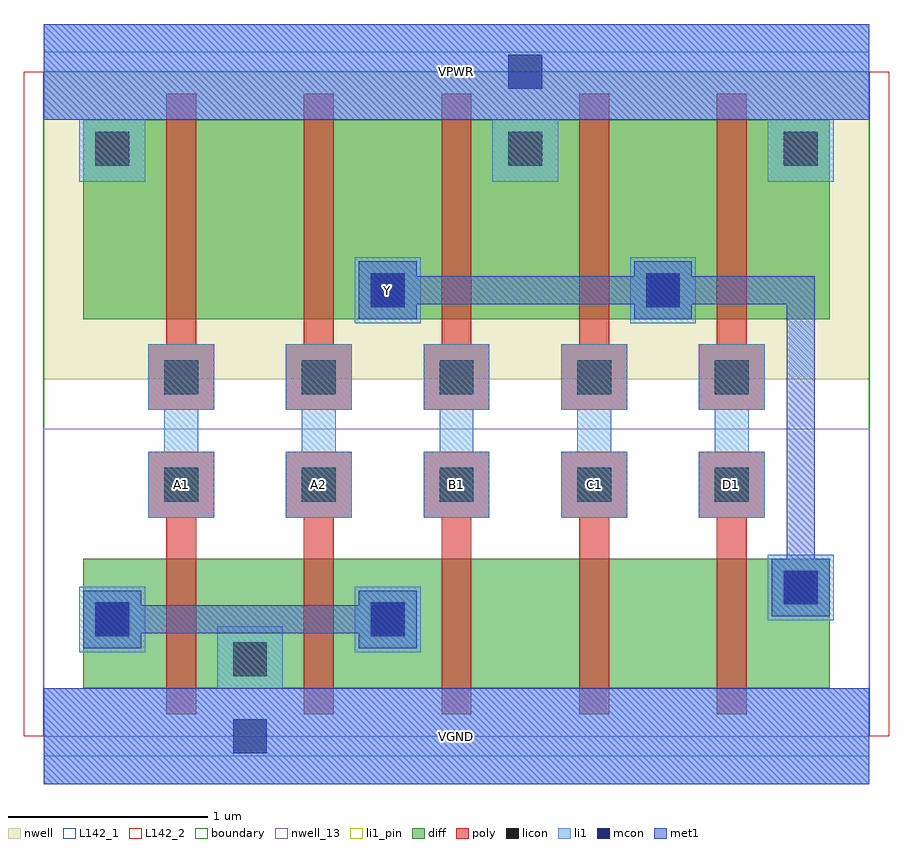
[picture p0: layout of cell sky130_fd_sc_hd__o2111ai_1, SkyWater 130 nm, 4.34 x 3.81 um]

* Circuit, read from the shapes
.subckt sky130_fd_sc_hd__o2111ai_1 A1 A2 B1 C1 D1 VGND VPWR Y
XM1 VGND A1 n1 VSUBS sky130_fd_pr__nfet_01v8 w=0.65 l=0.15
XM2 n1 A2 VGND VSUBS sky130_fd_pr__nfet_01v8 w=0.65 l=0.15
XM3 n2 B1 n1 VSUBS sky130_fd_pr__nfet_01v8 w=0.65 l=0.15
XM4 n3 C1 n2 VSUBS sky130_fd_pr__nfet_01v8 w=0.65 l=0.15
XM5 Y D1 n3 VSUBS sky130_fd_pr__nfet_01v8 w=0.65 l=0.15
XM6 n4 A1 VPWR n5 sky130_fd_pr__pfet_01v8 w=1 l=0.15
XM7 Y A2 n4 n5 sky130_fd_pr__pfet_01v8 w=1 l=0.15
XM8 VPWR B1 Y n5 sky130_fd_pr__pfet_01v8 w=1 l=0.15
XM9 Y C1 VPWR n5 sky130_fd_pr__pfet_01v8 w=1 l=0.15
XM10 VPWR D1 Y n5 sky130_fd_pr__pfet_01v8 w=1 l=0.15
.ends

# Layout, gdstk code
import gdstk
lib = gdstk.Library(unit=1e-6, precision=1e-09)
def R(c, l, rs):  # rectangles x0, y0, x1, y1
    for r in rs: c.add(gdstk.rectangle(r[:2], r[2:], *l))
def A(c, l, x, y, w, h, nx, ny, dx, dy):  # array of equal rectangles
    R(c, l, [(x+i*dx, y+j*dy, x+i*dx+w, y+j*dy+h) for i in range(nx) for j in range(ny)])
def P(c, l, *ps):  # polygons
    for p in ps: c.add(gdstk.Polygon(p, *l))
nwell_13 = (64, 13)
nwell = (64, 20)
diff = (65, 20)
poly = (66, 20)
licon = (66, 44)
li1_pin = (67, 16)
li1 = (67, 20)
mcon = (67, 44)
met1 = (68, 20)
L142_1 = (142, 1)
L142_2 = (142, 2)
boundary = (235, 4)

sky130_fd_sc_hd__o2111ai = lib.new_cell('sky130_fd_sc_hd__o2111ai_1')
R(sky130_fd_sc_hd__o2111ai, nwell_13, [(0,0,4.14,1.54)])
R(sky130_fd_sc_hd__o2111ai, nwell, [(0,1.79,4.14,3.33)])
A(sky130_fd_sc_hd__o2111ai, diff, 0.615, 0.24, 0.69, 0.65, 4, 1, 0.69, 0)
A(sky130_fd_sc_hd__o2111ai, diff, 0.615, 2.09, 0.69, 1, 4, 1, 0.69, 0)
R(sky130_fd_sc_hd__o2111ai, diff, [(0.2,0.24,3.94,0.89), (0.2,0.24,0.615,0.89), (3.375,0.24,3.94,0.89), (0.2,2.09,3.94,3.09), (0.2,2.09,0.615,3.09), (3.375,2.09,3.94,3.09)])
P(sky130_fd_sc_hd__o2111ai, poly, [(1.305,0.11),(1.305,1.095),(1.215,1.095),(1.215,1.425),(1.545,1.425),(1.545,1.095),(1.455,1.095),(1.455,0.11)],
  [(1.215,1.635),(1.215,1.965),(1.305,1.965),(1.305,3.22),(1.455,3.22),(1.455,1.965),(1.545,1.965),(1.545,1.635)],
  [(0.615,0.11),(0.615,1.095),(0.525,1.095),(0.525,1.425),(0.855,1.425),(0.855,1.095),(0.765,1.095),(0.765,0.11)],
  [(0.525,1.635),(0.525,1.965),(0.615,1.965),(0.615,3.22),(0.765,3.22),(0.765,1.965),(0.855,1.965),(0.855,1.635)],
  [(2.685,0.11),(2.685,1.095),(2.595,1.095),(2.595,1.425),(2.925,1.425),(2.925,1.095),(2.835,1.095),(2.835,0.11)],
  [(2.595,1.635),(2.595,1.965),(2.685,1.965),(2.685,3.22),(2.835,3.22),(2.835,1.965),(2.925,1.965),(2.925,1.635)],
  [(1.995,0.11),(1.995,1.095),(1.905,1.095),(1.905,1.425),(2.235,1.425),(2.235,1.095),(2.145,1.095),(2.145,0.11)],
  [(1.905,1.635),(1.905,1.965),(1.995,1.965),(1.995,3.22),(2.145,3.22),(2.145,1.965),(2.235,1.965),(2.235,1.635)],
  [(3.375,0.11),(3.375,1.095),(3.285,1.095),(3.285,1.425),(3.615,1.425),(3.615,1.095),(3.525,1.095),(3.525,0.11)],
  [(3.285,1.635),(3.285,1.965),(3.375,1.965),(3.375,3.22),(3.525,3.22),(3.525,1.965),(3.615,1.965),(3.615,1.635)])
A(sky130_fd_sc_hd__o2111ai, licon, 0.605, 1.175, 0.17, 0.17, 5, 2, 0.69, 0.54)
R(sky130_fd_sc_hd__o2111ai, licon, [(0.95,0.3,1.12,0.47), (0.26,0.5,0.43,0.67), (1.64,0.5,1.81,0.67), (3.71,0.66,3.88,0.83), (1.64,2.15,1.81,2.32), (3.02,2.15,3.19,2.32), (0.26,2.86,0.43,3.03), (2.33,2.86,2.5,3.03), (3.71,2.86,3.88,3.03)])
R(sky130_fd_sc_hd__o2111ai, li1_pin, [(0,-0.24,4.14,0.24), (1.56,2.07,1.89,2.4), (0,3.09,4.14,3.57)])
P(sky130_fd_sc_hd__o2111ai, li1_pin, [(1.215,1.095),(1.215,1.425),(1.295,1.425),(1.295,1.635),(1.215,1.635),(1.215,1.965),(1.545,1.965),(1.545,1.635),(1.465,1.635),(1.465,1.425),(1.545,1.425),(1.545,1.095)],
  [(2.595,1.095),(2.595,1.425),(2.675,1.425),(2.675,1.635),(2.595,1.635),(2.595,1.965),(2.925,1.965),(2.925,1.635),(2.845,1.635),(2.845,1.425),(2.925,1.425),(2.925,1.095)],
  [(0.525,1.095),(0.525,1.425),(0.605,1.425),(0.605,1.635),(0.525,1.635),(0.525,1.965),(0.855,1.965),(0.855,1.635),(0.775,1.635),(0.775,1.425),(0.855,1.425),(0.855,1.095)],
  [(1.905,1.095),(1.905,1.425),(1.985,1.425),(1.985,1.635),(1.905,1.635),(1.905,1.965),(2.235,1.965),(2.235,1.635),(2.155,1.635),(2.155,1.425),(2.235,1.425),(2.235,1.095)],
  [(3.285,1.095),(3.285,1.425),(3.365,1.425),(3.365,1.635),(3.285,1.635),(3.285,1.965),(3.615,1.965),(3.615,1.635),(3.535,1.635),(3.535,1.425),(3.615,1.425),(3.615,1.095)])
R(sky130_fd_sc_hd__o2111ai, li1, [(0.18,0.42,0.51,0.75), (1.56,0.42,1.89,0.75), (3.63,0.58,3.96,0.91), (1.56,2.07,1.89,2.4), (2.94,2.07,3.27,2.4)])
P(sky130_fd_sc_hd__o2111ai, li1, [(1.215,1.095),(1.215,1.425),(1.295,1.425),(1.295,1.635),(1.215,1.635),(1.215,1.965),(1.545,1.965),(1.545,1.635),(1.465,1.635),(1.465,1.425),(1.545,1.425),(1.545,1.095)],
  [(0.18,2.78),(0.18,3.09),(0,3.09),(0,3.57),(4.14,3.57),(4.14,3.09),(3.96,3.09),(3.96,2.78),(3.63,2.78),(3.63,3.09),(2.58,3.09),(2.58,2.78),(2.25,2.78),(2.25,3.09),(0.51,3.09),(0.51,2.78)],
  [(0.525,1.095),(0.525,1.425),(0.605,1.425),(0.605,1.635),(0.525,1.635),(0.525,1.965),(0.855,1.965),(0.855,1.635),(0.775,1.635),(0.775,1.425),(0.855,1.425),(0.855,1.095)],
  [(0,-0.24),(0,0.24),(0.87,0.24),(0.87,0.55),(1.2,0.55),(1.2,0.24),(4.14,0.24),(4.14,-0.24)],
  [(2.595,1.095),(2.595,1.425),(2.675,1.425),(2.675,1.635),(2.595,1.635),(2.595,1.965),(2.925,1.965),(2.925,1.635),(2.845,1.635),(2.845,1.425),(2.925,1.425),(2.925,1.095)],
  [(1.905,1.095),(1.905,1.425),(1.985,1.425),(1.985,1.635),(1.905,1.635),(1.905,1.965),(2.235,1.965),(2.235,1.635),(2.155,1.635),(2.155,1.425),(2.235,1.425),(2.235,1.095)],
  [(3.285,1.095),(3.285,1.425),(3.365,1.425),(3.365,1.635),(3.285,1.635),(3.285,1.965),(3.615,1.965),(3.615,1.635),(3.535,1.635),(3.535,1.425),(3.615,1.425),(3.615,1.095)])
R(sky130_fd_sc_hd__o2111ai, mcon, [(0.95,-0.085,1.12,0.085), (0.26,0.5,0.43,0.67), (1.64,0.5,1.81,0.67), (3.71,0.66,3.88,0.83), (1.64,2.15,1.81,2.32), (3.02,2.15,3.19,2.32), (2.33,3.245,2.5,3.415)])
R(sky130_fd_sc_hd__o2111ai, met1, [(0,-0.24,4.14,0.24), (0,3.09,4.14,3.57)])
P(sky130_fd_sc_hd__o2111ai, met1, [(3.65,0.6),(3.65,0.89),(3.725,0.89),(3.725,2.165),(3.25,2.165),(3.25,2.09),(2.96,2.09),(2.96,2.165),(1.87,2.165),(1.87,2.09),(1.58,2.09),(1.58,2.38),(1.87,2.38),(1.87,2.305),(2.96,2.305),(2.96,2.38),(3.25,2.38),(3.25,2.305),(3.865,2.305),(3.865,0.89),(3.94,0.89),(3.94,0.6)],
  [(0.2,0.44),(0.2,0.73),(0.49,0.73),(0.49,0.655),(1.58,0.655),(1.58,0.73),(1.87,0.73),(1.87,0.44),(1.58,0.44),(1.58,0.515),(0.49,0.515),(0.49,0.44)])
R(sky130_fd_sc_hd__o2111ai, L142_1, [(0,-0.1,4.14,0), (0,3.33,4.14,3.43)])
R(sky130_fd_sc_hd__o2111ai, L142_2, [(-0.1,0,0,3.33), (4.14,0,4.24,3.33)])
R(sky130_fd_sc_hd__o2111ai, boundary, [(0,0,4.14,3.33)])
sky130_fd_sc_hd__o2111ai.add(gdstk.Label('Y', (1.725,2.235), layer=67, texttype=5))
sky130_fd_sc_hd__o2111ai.add(gdstk.Label('A2', (1.38,1.26), layer=67, texttype=5))
sky130_fd_sc_hd__o2111ai.add(gdstk.Label('C1', (2.76,1.26), layer=67, texttype=5))
sky130_fd_sc_hd__o2111ai.add(gdstk.Label('A1', (0.69,1.26), layer=67, texttype=5))
sky130_fd_sc_hd__o2111ai.add(gdstk.Label('B1', (2.07,1.26), layer=67, texttype=5))
sky130_fd_sc_hd__o2111ai.add(gdstk.Label('D1', (3.45,1.26), layer=67, texttype=5))
sky130_fd_sc_hd__o2111ai.add(gdstk.Label('VGND', (2.07,0), layer=67, texttype=5))
sky130_fd_sc_hd__o2111ai.add(gdstk.Label('VPWR', (2.07,3.33), layer=67, texttype=5))
sky130_fd_sc_hd__o2111ai.add(gdstk.Label('VGND', (2.07,0), layer=68, texttype=5))
sky130_fd_sc_hd__o2111ai.add(gdstk.Label('VPWR', (2.07,3.33), layer=68, texttype=5))

lib.write_gds('sky130_fd_sc_hd__o2111ai_1.gds')
